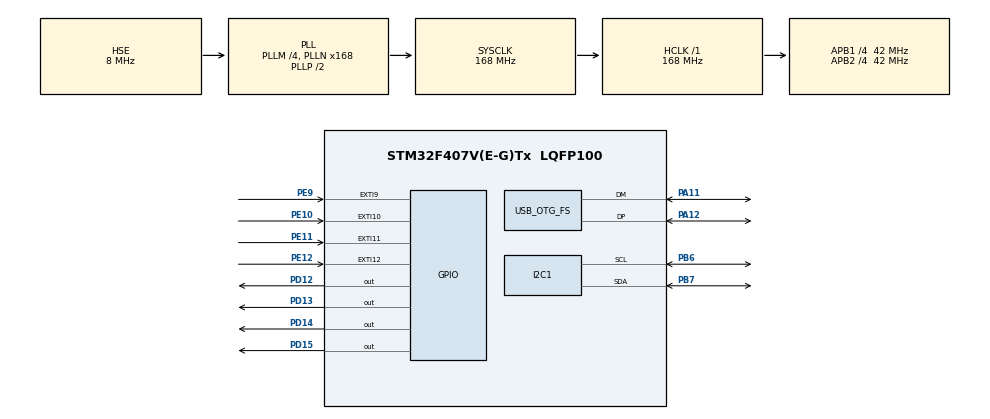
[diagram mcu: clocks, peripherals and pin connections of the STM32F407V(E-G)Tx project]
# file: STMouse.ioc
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Mcu.Family=STM32F4
Mcu.Name=STM32F407V(E-G)Tx
Mcu.Package=LQFP100
NVIC.EXTI15_10_IRQn=true\:0\:0\:false\:false\:true\:true\:true
NVIC.EXTI9_5_IRQn=true\:0\:0\:false\:false\:true\:true\:true
NVIC.OTG_FS_IRQn=true\:0\:0\:false\:false\:true\:false\:true
NVIC.PriorityGroup=NVIC_PRIORITYGROUP_4
PA11.Mode=Device_Only
PA11.Signal=USB_OTG_FS_DM
PA12.Mode=Device_Only
PA12.Signal=USB_OTG_FS_DP
PB6.Mode=I2C
PB6.Signal=I2C1_SCL
PB7.Mode=I2C
PB7.Signal=I2C1_SDA
PD12.Signal=GPIO_Output
PD13.Signal=GPIO_Output
PD14.Signal=GPIO_Output
PD15.Signal=GPIO_Output
PE10.GPIO_ModeDefaultEXTI=GPIO_MODE_IT_RISING_FALLING
PE10.GPIO_PuPd=GPIO_PULLDOWN
PE10.Signal=GPXTI10
PE11.GPIO_ModeDefaultEXTI=GPIO_MODE_IT_RISING_FALLING
PE11.GPIO_PuPd=GPIO_PULLDOWN
PE11.Signal=GPXTI11
PE12.GPIO_ModeDefaultEXTI=GPIO_MODE_IT_RISING_FALLING
PE12.GPIO_PuPd=GPIO_PULLDOWN
PE12.Signal=GPXTI12
PE9.GPIO_ModeDefaultEXTI=GPIO_MODE_IT_RISING
PE9.GPIO_PuPd=GPIO_PULLDOWN
PE9.Signal=GPXTI9
PH0-OSC_IN.Mode=HSE-External-Oscillator
PH0-OSC_IN.Signal=RCC_OSC_IN
PH1-OSC_OUT.Mode=HSE-External-Oscillator
PH1-OSC_OUT.Signal=RCC_OSC_OUT
ProjectManager.HeapSize=0x200
ProjectManager.StackSize=0x400
ProjectManager.TargetToolchain=SW4STM32
RCC.48MHZClocksFreq_Value=48000000
RCC.AHBFreq_Value=168000000
RCC.APB1CLKDivider=RCC_HCLK_DIV4
RCC.APB1Freq_Value=42000000
RCC.APB1TimFreq_Value=84000000
RCC.APB2CLKDivider=RCC_HCLK_DIV4
RCC.APB2Freq_Value=42000000
RCC.APB2TimFreq_Value=84000000
RCC.CortexFreq_Value=168000000
RCC.HCLKFreq_Value=168000000
RCC.HSE_VALUE=8000000
RCC.HSI_VALUE=16000000
RCC.LSE_VALUE=32768
RCC.PLLM=4
RCC.PLLN=168
RCC.PLLQ=7
RCC.SYSCLKFreq_VALUE=168000000
RCC.SYSCLKSource=RCC_SYSCLKSOURCE_PLLCLK
RCC.VCOOutputFreq_Value=336000000
USB_DEVICE.CLASS_NAME_FS=HID
USB_DEVICE.PRODUCT_STRING_HID_FS=STMouse
USB_DEVICE.VirtualMode-HID_FS=Hid
USB_DEVICE.VirtualModeFS=Hid_FS
USB_OTG_FS.VirtualMode=Device_Only
VP_USB_DEVICE_VS_USB_DEVICE_HID_FS.Mode=HID_FS
board=custom

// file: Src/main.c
/* USER CODE BEGIN Header */
/**
  ******************************************************************************
  * @file           : main.c
  * @brief          : Main program body
  ******************************************************************************
  * @attention
  *
  * <h2><center>&copy; Copyright (c) 2019 STMicroelectronics.
  * All rights reserved.</center></h2>
  *
  * This software component is licensed by ST under Ultimate Liberty license
  * SLA0044, the "License"; You may not use this file except in compliance with
  * the License. You may obtain a copy of the License at:
  *                             www.st.com/SLA0044
  *
  ******************************************************************************
  */
/* USER CODE END Header */

#include "main.h"
#include "usb_device.h"

/* USER CODE BEGIN Includes */
#include "APImouse.h"
#include "BNO055.h"
/* USER CODE END Includes */

I2C_HandleTypeDef hi2c1;

void SystemClock_Config(void);
static void MX_GPIO_Init(void);
static void MX_I2C1_Init(void);

/* USER CODE BEGIN 0 */
int16_t x,y,z;
double* tmp;
uint8_t flag =0;
//int x1,y1,z1;
//int x2,y2,z2;
/* USER CODE END 0 */

int main(void)
{
  /* USER CODE BEGIN 1 */
	mouseHID.buttons=0;
	mouse_clear();
  /* USER CODE END 1 */

  /* MCU Configuration--------------------------------------------------------*/

  /* Reset of all peripherals, Initializes the Flash interface and the Systick. */
  HAL_Init();

  /* Configure the system clock */
  SystemClock_Config();

  /* Initialize all configured peripherals */
  MX_GPIO_Init();
  MX_USB_DEVICE_Init();
  MX_I2C1_Init();
  /* USER CODE BEGIN 2 */
  begin();/*
  if(begin()==0)
	  HAL_GPIO_WritePin(GPIOD,GPIO_PIN_12,GPIO_PIN_SET);
  else
	  HAL_GPIO_WritePin(GPIOD,GPIO_PIN_14,GPIO_PIN_SET);*/
  tmp=calloc(4,sizeof(int16_t));
  /* USER CODE END 2 */

  /* Infinite loop */
  while (1)
  {

    /* USER CODE BEGIN 3 */
	  //if(flag==1){

		  getVector(VECTOR_ACCELEROMETER,tmp);
		  //if(tmp[0]<2000)// && tmp[0]>1)
			  x=(int)tmp[0];
		  //else x=0;
		  //if(tmp[1]<2000)// && tmp[1]>1)
			  y=(int)tmp[1];
			  z=(int)tmp[2];
		  //else y=0;
		  /*if(tmp[2]<2000)// && tmp[2]>1)
			 z=tmp[2];
		  else z=0;

		  getVector(VECTOR_ACCELEROMETER,VECTOR_LINEARACCEL,tmp);
		  if(tmp[0]<200)
			  x1=tmp[0];
		  if(tmp[1]<200)
			  y1=tmp[1];
		  if(tmp[2]<200)
			  z1=tmp[2];

		  getVector(VECTOR_EULER,tmp);
		  if(tmp[0]<400)
			  x2=tmp[0];
		  if(tmp[1]<400)
			  y2=tmp[1];
		  if(tmp[2]<400)
			  z2=tmp[2];*/

		  //if (x>1 || x<-1)
		  mouseHID.x=x/10;
		  //if (y>1 || y<-1)
		  mouseHID.y=y/10;

			  /*
			x = I2C_read16(BNO055_ADDRESS_A, VECTOR_ACCELEROMETER);
			y = I2C_read16(BNO055_ADDRESS_A, VECTOR_ACCELEROMETER+2);
			z = I2C_read16(BNO055_ADDRESS_A, VECTOR_ACCELEROMETER+4);
			if(x<30000)
				mouseHID.y = x/20;
			if(y<30000)
				mouseHID.x = y/20;
			//x2 = I2C_read16(BNO055_ADDRESS_A, VECTOR_GYROSCOPE);
			//y2 = I2C_read16(BNO055_ADDRESS_A, VECTOR_GYROSCOPE+2);
			//z2 = I2C_read16(BNO055_ADDRESS_A, VECTOR_GYROSCOPE+4);
			mouseHID.y*=-1;
			mouseHID.x*=-1;
			mouse_send();
	*/
	  //}
	  mouse_send();
  }
  /* USER CODE END 3 */
}

void SystemClock_Config(void)
{
  RCC_OscInitTypeDef RCC_OscInitStruct = {0};
  RCC_ClkInitTypeDef RCC_ClkInitStruct = {0};

  /** Configure the main internal regulator output voltage
  */
  __HAL_RCC_PWR_CLK_ENABLE();
  __HAL_PWR_VOLTAGESCALING_CONFIG(PWR_REGULATOR_VOLTAGE_SCALE1);
  /** Initializes the CPU, AHB and APB busses clocks
  */
  RCC_OscInitStruct.OscillatorType = RCC_OSCILLATORTYPE_HSE;
  RCC_OscInitStruct.HSEState = RCC_HSE_ON;
  RCC_OscInitStruct.PLL.PLLState = RCC_PLL_ON;
  RCC_OscInitStruct.PLL.PLLSource = RCC_PLLSOURCE_HSE;
  RCC_OscInitStruct.PLL.PLLM = 4;
  RCC_OscInitStruct.PLL.PLLN = 168;
  RCC_OscInitStruct.PLL.PLLP = RCC_PLLP_DIV2;
  RCC_OscInitStruct.PLL.PLLQ = 7;
  if (HAL_RCC_OscConfig(&RCC_OscInitStruct) != HAL_OK)
  {
    Error_Handler();
  }
  /** Initializes the CPU, AHB and APB busses clocks
  */
  RCC_ClkInitStruct.ClockType = RCC_CLOCKTYPE_HCLK|RCC_CLOCKTYPE_SYSCLK
                              |RCC_CLOCKTYPE_PCLK1|RCC_CLOCKTYPE_PCLK2;
  RCC_ClkInitStruct.SYSCLKSource = RCC_SYSCLKSOURCE_PLLCLK;
  RCC_ClkInitStruct.AHBCLKDivider = RCC_SYSCLK_DIV1;
  RCC_ClkInitStruct.APB1CLKDivider = RCC_HCLK_DIV4;
  RCC_ClkInitStruct.APB2CLKDivider = RCC_HCLK_DIV4;

  if (HAL_RCC_ClockConfig(&RCC_ClkInitStruct, FLASH_LATENCY_5) != HAL_OK)
  {
    Error_Handler();
  }
}

static void MX_I2C1_Init(void)
{

  hi2c1.Instance = I2C1;
  hi2c1.Init.ClockSpeed = 100000;
  hi2c1.Init.DutyCycle = I2C_DUTYCYCLE_2;
  hi2c1.Init.OwnAddress1 = 0;
  hi2c1.Init.AddressingMode = I2C_ADDRESSINGMODE_7BIT;
  hi2c1.Init.DualAddressMode = I2C_DUALADDRESS_DISABLE;
  hi2c1.Init.OwnAddress2 = 0;
  hi2c1.Init.GeneralCallMode = I2C_GENERALCALL_DISABLE;
  hi2c1.Init.NoStretchMode = I2C_NOSTRETCH_DISABLE;
  if (HAL_I2C_Init(&hi2c1) != HAL_OK)
  {
    Error_Handler();
  }

}

static void MX_GPIO_Init(void)
{
  GPIO_InitTypeDef GPIO_InitStruct = {0};

  /* GPIO Ports Clock Enable */
  __HAL_RCC_GPIOH_CLK_ENABLE();
  __HAL_RCC_GPIOE_CLK_ENABLE();
  __HAL_RCC_GPIOD_CLK_ENABLE();
  __HAL_RCC_GPIOA_CLK_ENABLE();
  __HAL_RCC_GPIOB_CLK_ENABLE();

  /*Configure GPIO pin Output Level */
  HAL_GPIO_WritePin(GPIOD, GPIO_PIN_12|GPIO_PIN_13|GPIO_PIN_14|GPIO_PIN_15, GPIO_PIN_RESET);

  /*Configure GPIO pin : PE9 */
  GPIO_InitStruct.Pin = GPIO_PIN_9;
  GPIO_InitStruct.Mode = GPIO_MODE_IT_RISING;
  GPIO_InitStruct.Pull = GPIO_PULLDOWN;
  HAL_GPIO_Init(GPIOE, &GPIO_InitStruct);

  /*Configure GPIO pins : PE10 PE11 PE12 */
  GPIO_InitStruct.Pin = GPIO_PIN_10|GPIO_PIN_11|GPIO_PIN_12;
  GPIO_InitStruct.Mode = GPIO_MODE_IT_RISING_FALLING;
  GPIO_InitStruct.Pull = GPIO_PULLDOWN;
  HAL_GPIO_Init(GPIOE, &GPIO_InitStruct);

  /*Configure GPIO pins : PD12 PD13 PD14 PD15 */
  GPIO_InitStruct.Pin = GPIO_PIN_12|GPIO_PIN_13|GPIO_PIN_14|GPIO_PIN_15;
  GPIO_InitStruct.Mode = GPIO_MODE_OUTPUT_PP;
  GPIO_InitStruct.Pull = GPIO_NOPULL;
  GPIO_InitStruct.Speed = GPIO_SPEED_FREQ_LOW;
  HAL_GPIO_Init(GPIOD, &GPIO_InitStruct);

  /* EXTI interrupt init*/
  HAL_NVIC_SetPriority(EXTI9_5_IRQn, 0, 0);
  HAL_NVIC_EnableIRQ(EXTI9_5_IRQn);

  HAL_NVIC_SetPriority(EXTI15_10_IRQn, 0, 0);
  HAL_NVIC_EnableIRQ(EXTI15_10_IRQn);

}

/* USER CODE BEGIN 4 */
void HAL_GPIO_EXTI_Callback(uint16_t GPIO_Pin)
{
		//11 - LPM
		//12 - PPM
		//10 - ŒPM
		//7 - ON/OF
		///0 -> off
		///1 -> on

		if(GPIO_PIN_9==GPIO_Pin){
			flag ^= 1;
			//resetBNO();
			HAL_GPIO_TogglePin(GPIOD,GPIO_PIN_13);
		}

		//Lewy przycisk 0x01 | Prawy przycisk 0x02 | Srodkowy przycisk 0x04
		if(GPIO_PIN_11==GPIO_Pin){
			mouseHID.buttons^=1;
			HAL_GPIO_TogglePin(GPIOD,GPIO_PIN_15);}
		if(GPIO_PIN_12==GPIO_Pin){
			mouseHID.buttons^=2;
			HAL_GPIO_TogglePin(GPIOD,GPIO_PIN_15);}
		if(GPIO_PIN_10==GPIO_Pin){
			mouseHID.buttons^=4;
			HAL_GPIO_TogglePin(GPIOD,GPIO_PIN_15);}
}
/* USER CODE END 4 */

void Error_Handler(void)
{
}

/************************ (C) COPYRIGHT STMicroelectronics *****END OF FILE****/
